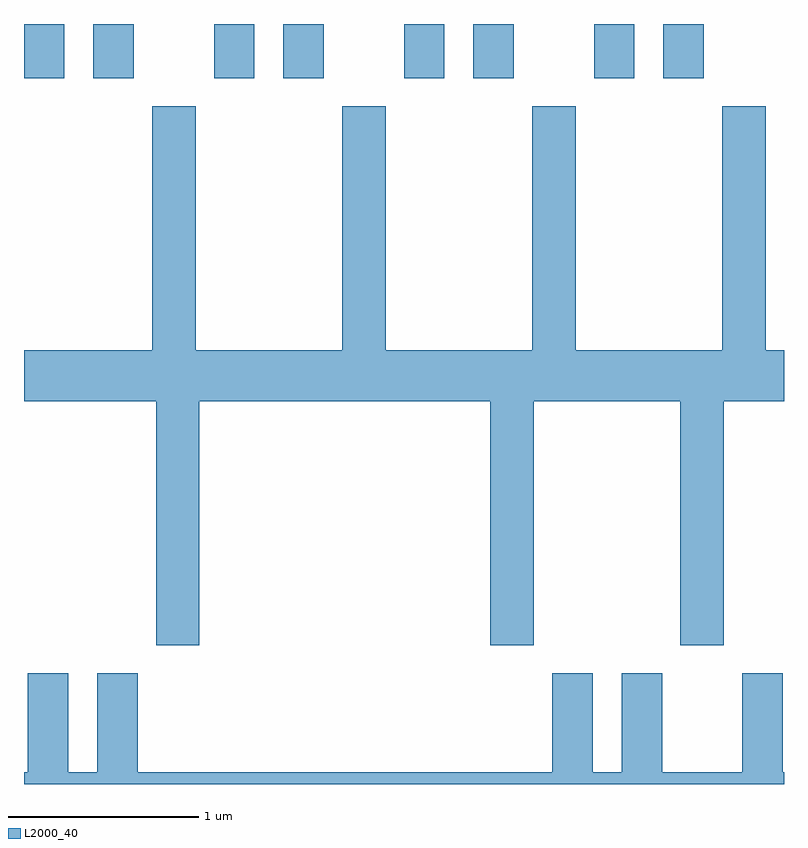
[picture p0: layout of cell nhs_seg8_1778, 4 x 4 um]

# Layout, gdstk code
import gdstk
lib = gdstk.Library(unit=1e-6, precision=1e-09)
def R(c, l, rs):  # rectangles x0, y0, x1, y1
    for r in rs: c.add(gdstk.rectangle(r[:2], r[2:], *l))
def P(c, l, *ps):  # polygons
    for p in ps: c.add(gdstk.Polygon(p, *l))
L2000_40 = (2000, 40)

nhs_seg8_1778 = lib.new_cell('nhs_seg8_1778')
R(nhs_seg8_1778, L2000_40, [(237.611,1898.056,237.824,1898.342), (237.976,1898.056,238.189,1898.342), (238.611,1898.056,238.824,1898.342), (238.976,1898.056,239.189,1898.342), (239.611,1898.056,239.824,1898.342), (239.976,1898.056,240.189,1898.342), (240.611,1898.056,240.824,1898.342), (240.976,1898.056,241.189,1898.342)])
P(nhs_seg8_1778, L2000_40, [(238.534,1896.356),(240.066,1896.356),(240.066,1895.071),(240.294,1895.071),(240.294,1896.356),(241.066,1896.356),(241.066,1895.071),(241.294,1895.071),(241.294,1896.356),(241.611,1896.356),(241.611,1896.624),(241.514,1896.624),(241.514,1897.909),(241.286,1897.909),(241.286,1896.624),(240.514,1896.624),(240.514,1897.909),(240.286,1897.909),(240.286,1896.624),(239.514,1896.624),(239.514,1897.909),(239.286,1897.909),(239.286,1896.624),(238.514,1896.624),(238.514,1897.909),(238.286,1897.909),(238.286,1896.624),(237.611,1896.624),(237.611,1896.356),(238.306,1896.356),(238.306,1895.071),(238.534,1895.071)],
  [(241.611,1894.404),(241.604,1894.404),(241.604,1894.924),(241.391,1894.924),(241.391,1894.404),(240.969,1894.404),(240.969,1894.924),(240.756,1894.924),(240.756,1894.404),(240.604,1894.404),(240.604,1894.924),(240.391,1894.924),(240.391,1894.404),(238.209,1894.404),(238.209,1894.924),(237.996,1894.924),(237.996,1894.404),(237.844,1894.404),(237.844,1894.924),(237.631,1894.924),(237.631,1894.404),(237.611,1894.404),(237.611,1894.342),(241.611,1894.342)])

lib.write_gds('nhs_seg8_1778.gds')
